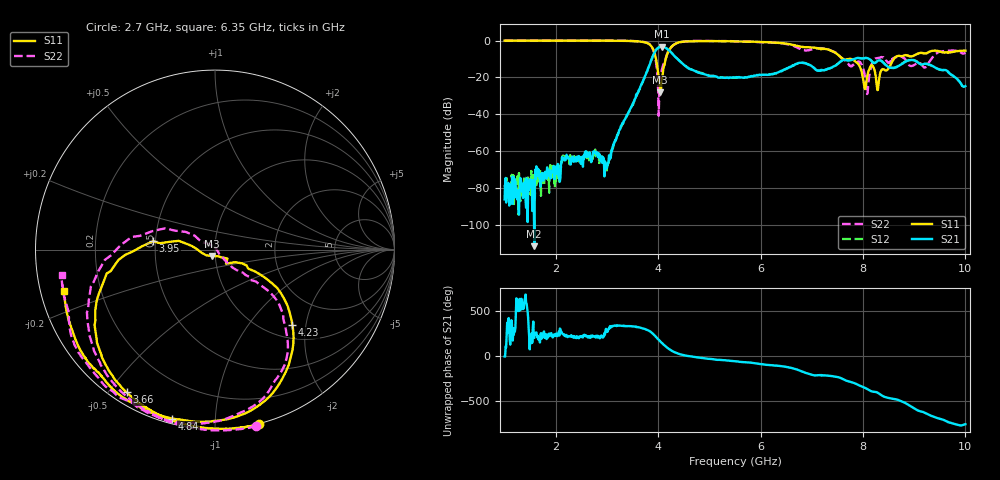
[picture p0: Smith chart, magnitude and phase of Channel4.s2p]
!Agilent Technologies,N5227A,US51270477,A.10.00.00
!File generated by LCAF-GAM-UPV software
!josevmart@iteam.upv.es
!S2P File: Measurements: S11, S21, S12, S22:
# Hz S  dB  R 50
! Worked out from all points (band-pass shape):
!   901 points, 1 GHz to 10 GHz, reference 50 ohm
!   highest |S21| = -3.34 dB at 4.08 GHz (marker M1); lowest = -111.7 dB at 1.58 GHz (marker M2)
!   |S21| within 3 dB of the highest: 3.93 GHz to 4.252 GHz (321.8 MHz wide, 7.87 % of centre)
!   lowest |S11| = -28.0 dB at 4.04 GHz (marker M3), VSWR 1.08, Z = 48.2 - j3.46 ohm
!   |S11| at or under -10 dB: 3.958 GHz to 4.148 GHz (189.7 MHz wide, 4.68 % of centre); 7.608 GHz to 7.723 GHz (114.7 MHz wide, 1.5 % of centre); 7.773 GHz to 8.602 GHz (828.4 MHz wide, 10.1 % of centre)
!   |S22| runs from -40.9 to 0.1 dB; largest |S21 - S12| = 0.032
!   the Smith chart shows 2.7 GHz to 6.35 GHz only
!   S11 on the Smith chart (normalised r, x): 2.7 GHz: -0.00, -1.28; 3.66 GHz: 0.04, -0.56; 3.95 GHz: 0.49, +0.05; 4.23 GHz: 1.28, -1.68; 4.84 GHz: 0.02, -0.78; 6.35 GHz: 0.07, -0.13
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1e9  0.01 -27.4  -86.28 -5.9  -78.37 -139.7  0.02 -28.0
1.58e9  0.02 -43.5  -111.69 -161.6  -76.17 -108.0  0.04 -43.8
2.5e9  0.02 -69.2  -63.76 -152.2  -63.87 -155.3  0.07 -70.6
2.7e9  0.03 -75.8  -65.54 -152.6  -61.94 -152.5  0.09 -76.8
2.99e9  0.01 -85.3  -68.55 -91.4  -71.11 -84.1  0.08 -86.4
3.66e9  -0.59 -121.8  -24.53 -51.1  -24.79 -49.7  -0.47 -123.9
3.95e9  -9.19 172.3  -5.27 -147.4  -5.30 -145.6  -10.43 156.7
4e9  -17.81 171.3  -3.88 -176.8  -3.87 -176.1  -27.58 135.8
4.04e9  -28.04 -115.3  -3.43 160.5  -3.44 160.8  -20.62 -47.6
4.08e9  -20.05 -51.9  -3.34 140.3  -3.41 137.6  -14.88 -42.2
4.23e9  -4.42 -44.2  -5.77 69.1  -5.74 69.6  -4.50 -48.5
4.84e9  -0.25 -104.3  -17.80 -21.3  -17.53 -21.7  -0.12 -108.1
5.5e9  -0.44 -130.5  -20.08 -58.6  -20.04 -58.8  -0.34 -134.6
6.35e9  -1.17 -164.6  -17.18 -108.4  -17.18 -108.0  -1.28 -170.6
7e9  -3.74 170.6  -13.94 152.2  -13.92 152.6  -4.72 174.6
7.94e9  -14.24 112.7  -9.49 31.5  -9.49 29.2  -11.99 131.0
8.08e9  -19.79 -162.5  -9.48 -4.1  -9.48 -5.2  -29.02 160.9
8.23e9  -16.45 139.3  -12.11 -35.8  -12.20 -35.9  -9.95 -167.4
8.5e9  -15.09 -142.8  -14.45 -103.4  -14.33 -103.9  -12.20 157.3
8.92e9  -8.61 169.7  -10.63 169.5  -10.47 168.9  -13.70 126.1
9.31e9  -5.90 136.6  -13.14 65.5  -13.20 64.8  -10.88 152.7
1e10  -5.45 43.5  -24.73 -32.6  -24.85 -31.5  -6.59 48.9
